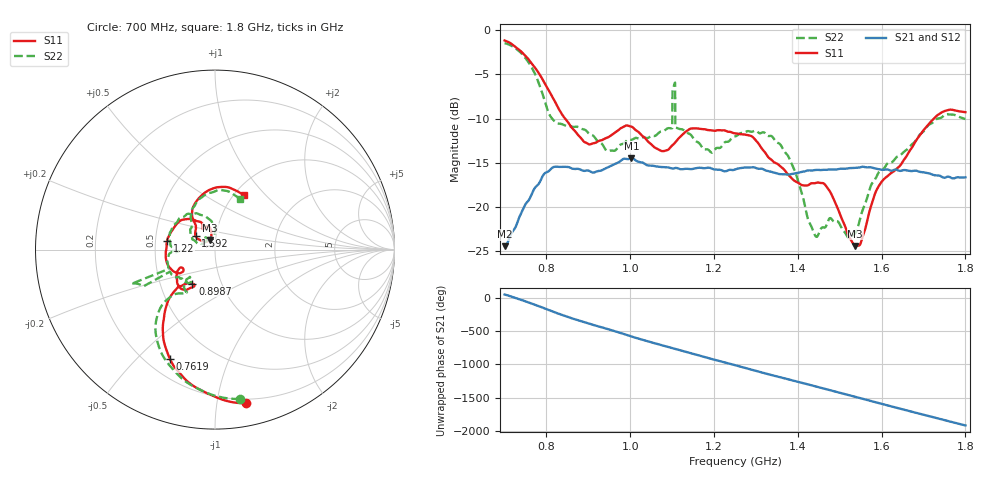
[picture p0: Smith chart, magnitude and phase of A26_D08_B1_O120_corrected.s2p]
! Created with skrf 1.9.0 (http://scikit-rf.org).
# Hz S RI R 50.0
!freq ReS11 ImS11 ReS21 ImS21 ReS12 ImS12 ReS22 ImS22
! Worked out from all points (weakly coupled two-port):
!   1601 points, 700 MHz to 1.8 GHz, reference 50 ohm
!   highest |S21| = -14.51 dB at 1.002 GHz (marker M1); lowest = -24.4 dB at 700 MHz (marker M2)
!   lowest |S11| = -24.4 dB at 1.537 GHz (marker M3), VSWR 1.13, Z = 47.1 + j5.11 ohm
!   |S11| at or under -10 dB: 844.3 MHz to 1.725 GHz (880.6 MHz wide, 68.5 % of centre)
!   |S22| runs from -23.6 to -1.5 dB; largest |S21 - S12| = 0.0036
!   S11 on the Smith chart (normalised r, x): 700 MHz: 0.17, -1.21; 761.9 MHz: 0.29, -0.63; 898.7 MHz: 0.73, -0.29; 1.22 GHz: 0.58, +0.06; 1.592 GHz: 0.80, +0.12; 1.8 GHz: 1.12, +0.76
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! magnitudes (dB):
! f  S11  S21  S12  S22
! 700 MHz  -1.2  -24.4  -24.2  -1.5
! 761.9 MHz  -3.6  -18.9  -18.8  -4.0
! 814.1 MHz  -7.6  -15.6  -15.6  -10.1
! 883.6 MHz  -12.3  -15.8  -15.7  -11.2
! 898.7 MHz  -12.9  -15.9  -15.9  -11.6
! 946.8 MHz  -12.1  -15.5  -15.5  -13.7
! 1.002 GHz  -10.9  -14.5  -14.6  -12.4
! 1.067 GHz  -13.5  -15.5  -15.4  -11.6
! 1.095 GHz  -13.3  -15.6  -15.6  -11.1
! 1.106 GHz  -12.8  -15.6  -15.6  -6.0
! 1.113 GHz  -12.4  -15.6  -15.7  -11.1
! 1.22 GHz  -11.3  -15.9  -15.9  -13.0
! 1.25 GHz  -11.7  -15.8  -15.7  -12.0
! 1.358 GHz  -15.4  -16.3  -16.3  -12.9
! 1.394 GHz  -17.1  -16.2  -16.2  -16.0
! 1.434 GHz  -17.3  -15.9  -15.9  -22.4
! 1.472 GHz  -17.9  -15.8  -15.8  -21.6
! 1.537 GHz  -24.4  -15.6  -15.6  -23.0
! 1.592 GHz  -17.7  -15.7  -15.7  -16.2
! 1.617 GHz  -16.4  -15.8  -15.8  -15.0
! 1.733 GHz  -9.6  -16.4  -16.5  -10.0
! 1.8 GHz  -9.3  -16.6  -16.6  -10.0
